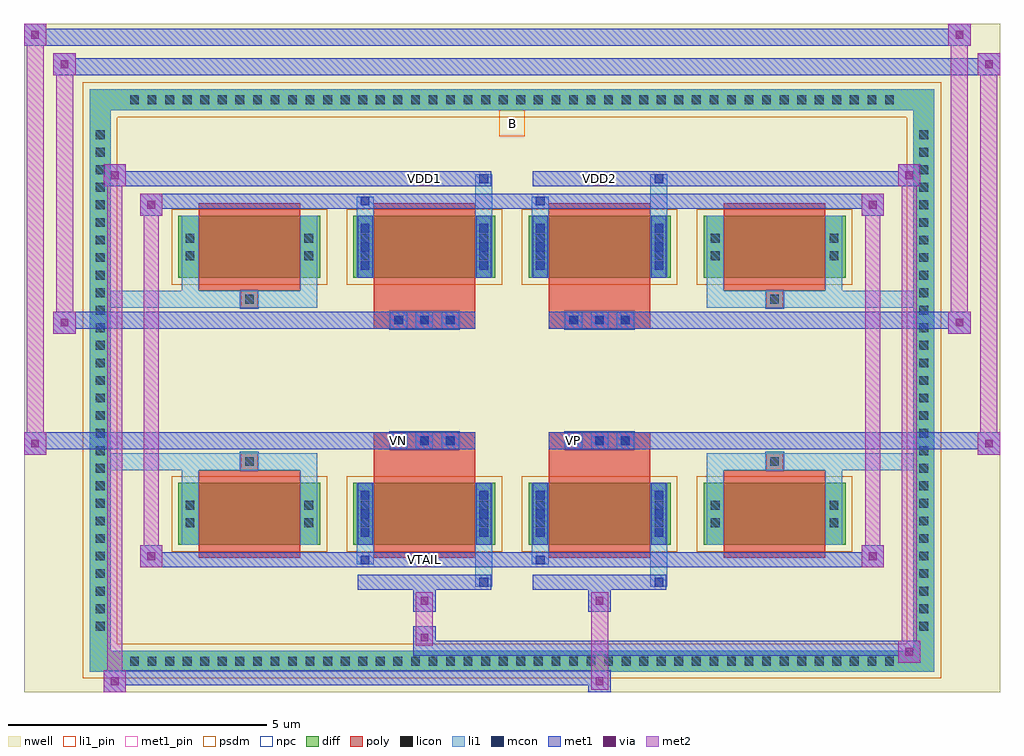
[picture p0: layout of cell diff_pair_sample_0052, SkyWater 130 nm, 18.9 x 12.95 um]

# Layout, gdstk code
import gdstk
lib = gdstk.Library(unit=1e-6, precision=5e-09)
def R(c, l, rs):  # rectangles x0, y0, x1, y1
    for r in rs: c.add(gdstk.rectangle(r[:2], r[2:], *l))
def A(c, l, x, y, w, h, nx, ny, dx, dy):  # array of equal rectangles
    R(c, l, [(x+i*dx, y+j*dy, x+i*dx+w, y+j*dy+h) for i in range(nx) for j in range(ny)])
def P(c, l, *ps):  # polygons
    for p in ps: c.add(gdstk.Polygon(p, *l))
nwell = (64, 20)
diff = (65, 20)
poly = (66, 20)
licon = (66, 44)
li1_pin = (67, 16)
li1 = (67, 20)
mcon = (67, 44)
met1_pin = (68, 16)
met1 = (68, 20)
via = (68, 44)
met2 = (69, 20)
psdm = (94, 20)
npc = (95, 20)

diff_pair_sample_0052 = lib.new_cell('diff_pair_sample_0052')
R(diff_pair_sample_0052, nwell, [(-9.45,-6.04,9.45,6.91), (-6.77,-4.23,-0.01,-0.805), (0.01,-4.23,6.77,-0.805), (-6.77,0.805,-0.01,4.23), (0.01,0.805,6.77,4.23)])
A(diff_pair_sample_0052, diff, -7.515, -5.64, 0.41, 0.41, 44, 2, 0.34, 10.87)
A(diff_pair_sample_0052, diff, -8.18, -4.965, 0.41, 0.41, 1, 29, 0, 0.34)
A(diff_pair_sample_0052, diff, 7.77, -4.965, 0.41, 0.41, 1, 29, 0, 0.34)
A(diff_pair_sample_0052, diff, -6.46, -3.185, 2.75, 1.2, 4, 2, 3.39, 5.17)
R(diff_pair_sample_0052, diff, [(-7.515,-5.64,7.515,-5.23), (-8.18,-4.965,-7.77,4.965), (7.77,-4.965,8.18,4.965), (-7.515,5.23,7.515,5.64)])
P(diff_pair_sample_0052, diff, [(8.18,5.64),(-8.18,5.64),(-8.18,-5.23),(-7.77,-5.23),(-7.77,5.23),(7.77,5.23),(7.77,-5.23),(-7.77,-5.23),(-8.18,-5.23),(-8.18,-5.64),(8.18,-5.64)])
A(diff_pair_sample_0052, poly, -6.07, -3.435, 1.97, 1.7, 4, 2, 3.39, 5.17)
A(diff_pair_sample_0052, poly, -2.36, -1.335, 0.33, 0.33, 3, 2, 0.5, 2.34)
A(diff_pair_sample_0052, poly, 1.03, -1.335, 0.33, 0.33, 3, 2, 0.5, 2.34)
R(diff_pair_sample_0052, poly, [(-5.25,-1.735,-4.92,-1.405), (-5.25,-1.735,-4.92,-1.405), (-2.68,-1.735,-0.71,-1.335), (0.71,-1.735,2.68,-1.335), (4.92,-1.735,5.25,-1.405), (4.92,-1.735,5.25,-1.405), (-2.68,-1.335,-0.71,-1.005), (0.71,-1.335,2.68,-1.005), (-2.68,1.005,-0.71,1.335), (0.71,1.005,2.68,1.335), (-2.68,1.335,-0.71,1.735), (0.71,1.335,2.68,1.735), (-5.25,1.405,-4.92,1.735), (-5.25,1.405,-4.92,1.735), (4.92,1.405,5.25,1.735), (4.92,1.405,5.25,1.735)])
A(diff_pair_sample_0052, licon, -7.395, -5.52, 0.17, 0.17, 44, 2, 0.34, 10.87)
A(diff_pair_sample_0052, licon, -8.06, -4.845, 0.17, 0.17, 1, 29, 0, 0.34)
A(diff_pair_sample_0052, licon, 7.89, -4.845, 0.17, 0.17, 1, 29, 0, 0.34)
A(diff_pair_sample_0052, licon, -2.28, -1.255, 0.17, 0.17, 3, 2, 0.5, 2.34)
A(diff_pair_sample_0052, licon, 1.11, -1.255, 0.17, 0.17, 3, 2, 0.5, 2.34)
R(diff_pair_sample_0052, licon, [(-6.32,-2.84,-6.15,-2.67), (-4.02,-2.84,-3.85,-2.67), (-2.93,-2.84,-2.76,-2.67), (-0.63,-2.84,-0.46,-2.67), (0.46,-2.84,0.63,-2.67), (2.76,-2.84,2.93,-2.67), (3.85,-2.84,4.02,-2.67), (6.15,-2.84,6.32,-2.67), (-6.32,-2.5,-6.15,-2.33), (-4.02,-2.5,-3.85,-2.33), (-2.93,-2.5,-2.76,-2.33), (-0.63,-2.5,-0.46,-2.33), (0.46,-2.5,0.63,-2.33), (2.76,-2.5,2.93,-2.33), (3.85,-2.5,4.02,-2.33), (6.15,-2.5,6.32,-2.33), (-5.17,-1.655,-5,-1.485), (5,-1.655,5.17,-1.485), (-5.17,1.485,-5,1.655), (5,1.485,5.17,1.655), (-6.32,2.33,-6.15,2.5), (-4.02,2.33,-3.85,2.5), (-2.93,2.33,-2.76,2.5), (-0.63,2.33,-0.46,2.5), (0.46,2.33,0.63,2.5), (2.76,2.33,2.93,2.5), (3.85,2.33,4.02,2.5), (6.15,2.33,6.32,2.5), (-6.32,2.67,-6.15,2.84), (-4.02,2.67,-3.85,2.84), (-2.93,2.67,-2.76,2.84), (-0.63,2.67,-0.46,2.84), (0.46,2.67,0.63,2.84), (2.76,2.67,2.93,2.84), (3.85,2.67,4.02,2.84), (6.15,2.67,6.32,2.84)])
R(diff_pair_sample_0052, li1_pin, [(-0.25,4.73,0.25,5.23)])
A(diff_pair_sample_0052, li1, -7.475, -5.6, 0.33, 0.33, 44, 2, 0.34, 10.87)
A(diff_pair_sample_0052, li1, -8.14, -4.925, 0.33, 0.33, 1, 29, 0, 0.34)
A(diff_pair_sample_0052, li1, 7.81, -4.925, 0.33, 0.33, 1, 29, 0, 0.34)
A(diff_pair_sample_0052, li1, -2.93, -3.03, 0.17, 0.17, 1, 3, 0, 0.36)
A(diff_pair_sample_0052, li1, -0.63, -3.03, 0.17, 0.17, 1, 3, 0, 0.36)
A(diff_pair_sample_0052, li1, 0.46, -3.03, 0.17, 0.17, 1, 3, 0, 0.36)
A(diff_pair_sample_0052, li1, 2.76, -3.03, 0.17, 0.17, 1, 3, 0, 0.36)
A(diff_pair_sample_0052, li1, -2.36, -1.335, 0.33, 0.33, 3, 2, 0.5, 2.34)
A(diff_pair_sample_0052, li1, 1.03, -1.335, 0.33, 0.33, 3, 2, 0.5, 2.34)
A(diff_pair_sample_0052, li1, -2.93, 2.14, 0.17, 0.17, 1, 3, 0, 0.36)
A(diff_pair_sample_0052, li1, -0.63, 2.14, 0.17, 0.17, 1, 3, 0, 0.36)
A(diff_pair_sample_0052, li1, 0.46, 2.14, 0.17, 0.17, 1, 3, 0, 0.36)
A(diff_pair_sample_0052, li1, 2.76, 2.14, 0.17, 0.17, 1, 3, 0, 0.36)
R(diff_pair_sample_0052, li1, [(-8.18,-5.64,-7.77,-5.23), (-8.18,-5.64,-7.77,-5.23), (-7.77,-5.64,7.77,-5.23), (7.77,-5.64,8.18,-5.23), (7.77,-5.64,8.18,-5.23), (-8.18,-5.23,-7.77,5.23), (7.77,-5.23,8.18,5.23), (-0.71,-3.99,-0.38,-3.185), (-0.63,-3.99,-0.46,-3.82), (2.68,-3.99,3.01,-3.185), (2.76,-3.99,2.93,-3.82), (-3.01,-3.56,-2.68,-3.185), (-2.93,-3.56,-2.76,-3.39), (0.38,-3.56,0.71,-3.185), (0.46,-3.56,0.63,-3.39), (-6.4,-3.185,-6.07,-1.985), (-4.1,-3.185,-3.77,-1.985), (-3.01,-3.185,-2.68,-1.985), (-0.71,-3.185,-0.38,-1.985), (0.38,-3.185,0.71,-1.985), (2.68,-3.185,3.01,-1.985), (3.77,-3.185,4.1,-1.985), (6.07,-3.185,6.4,-1.985), (-2.93,-3.03,-2.76,-2.14), (-0.63,-3.03,-0.46,-2.14), (0.46,-3.03,0.63,-2.14), (2.76,-3.03,2.93,-2.14), (-6.4,-2.92,-6.07,-2.59), (-4.1,-2.92,-3.77,-2.59), (-3.01,-2.92,-2.68,-2.59), (-0.71,-2.92,-0.38,-2.59), (0.38,-2.92,0.71,-2.59), (2.68,-2.92,3.01,-2.59), (3.77,-2.92,4.1,-2.59), (6.07,-2.92,6.4,-2.59), (-6.4,-2.58,-6.07,-2.25), (-4.1,-2.58,-3.77,-2.25), (-3.01,-2.58,-2.68,-2.25), (-0.71,-2.58,-0.38,-2.25), (0.38,-2.58,0.71,-2.25), (2.68,-2.58,3.01,-2.25), (3.77,-2.58,4.1,-2.25), (6.07,-2.58,6.4,-2.25), (-6.4,-1.985,-6.07,-1.405), (-4.1,-1.985,-3.77,-1.405), (3.77,-1.985,4.1,-1.405), (6.07,-1.985,6.4,-1.405), (-8.18,-1.735,-5.25,-1.405), (-6.4,-1.735,-5.25,-1.405), (-5.25,-1.735,-4.92,-1.405), (-4.92,-1.735,-3.77,-1.405), (3.77,-1.735,4.92,-1.405), (4.92,-1.735,5.25,-1.405), (4.92,-1.735,8.18,-1.405), (5.25,-1.735,6.4,-1.405), (-8.18,1.405,-5.25,1.735), (-6.4,1.405,-5.25,1.735), (-6.4,1.405,-6.07,1.985), (-5.25,1.405,-4.92,1.735), (-4.92,1.405,-3.77,1.735), (-4.1,1.405,-3.77,1.985), (3.77,1.405,4.92,1.735), (3.77,1.405,4.1,1.985), (4.92,1.405,5.25,1.735), (4.92,1.405,8.18,1.735), (5.25,1.405,6.4,1.735), (6.07,1.405,6.4,1.985), (-6.4,1.985,-6.07,3.185), (-4.1,1.985,-3.77,3.185), (-3.01,1.985,-2.68,3.185), (-0.71,1.985,-0.38,3.185), (0.38,1.985,0.71,3.185), (2.68,1.985,3.01,3.185), (3.77,1.985,4.1,3.185), (6.07,1.985,6.4,3.185), (-2.93,2.14,-2.76,3.03), (-0.63,2.14,-0.46,3.03), (0.46,2.14,0.63,3.03), (2.76,2.14,2.93,3.03), (-6.4,2.25,-6.07,2.58), (-4.1,2.25,-3.77,2.58), (-3.01,2.25,-2.68,2.58), (-0.71,2.25,-0.38,2.58), (0.38,2.25,0.71,2.58), (2.68,2.25,3.01,2.58), (3.77,2.25,4.1,2.58), (6.07,2.25,6.4,2.58), (-6.4,2.59,-6.07,2.92), (-4.1,2.59,-3.77,2.92), (-3.01,2.59,-2.68,2.92), (-0.71,2.59,-0.38,2.92), (0.38,2.59,0.71,2.92), (2.68,2.59,3.01,2.92), (3.77,2.59,4.1,2.92), (6.07,2.59,6.4,2.92), (-3.01,3.185,-2.68,3.56), (-0.71,3.185,-0.38,3.99), (0.38,3.185,0.71,3.56), (2.68,3.185,3.01,3.99), (-2.93,3.39,-2.76,3.56), (0.46,3.39,0.63,3.56), (-0.63,3.82,-0.46,3.99), (2.76,3.82,2.93,3.99), (-8.18,5.23,-7.77,5.64), (-8.18,5.23,-7.77,5.64), (-7.77,5.23,7.77,5.64), (7.77,5.23,8.18,5.64), (7.77,5.23,8.18,5.64)])
A(diff_pair_sample_0052, mcon, -2.93, -3.03, 0.17, 0.17, 1, 3, 0, 0.36)
A(diff_pair_sample_0052, mcon, -0.63, -3.03, 0.17, 0.17, 1, 3, 0, 0.36)
A(diff_pair_sample_0052, mcon, 0.46, -3.03, 0.17, 0.17, 1, 3, 0, 0.36)
A(diff_pair_sample_0052, mcon, 2.76, -3.03, 0.17, 0.17, 1, 3, 0, 0.36)
A(diff_pair_sample_0052, mcon, -2.28, -1.255, 0.17, 0.17, 3, 2, 0.5, 2.34)
A(diff_pair_sample_0052, mcon, 1.11, -1.255, 0.17, 0.17, 3, 2, 0.5, 2.34)
A(diff_pair_sample_0052, mcon, -2.93, 2.14, 0.17, 0.17, 1, 3, 0, 0.36)
A(diff_pair_sample_0052, mcon, -0.63, 2.14, 0.17, 0.17, 1, 3, 0, 0.36)
A(diff_pair_sample_0052, mcon, 0.46, 2.14, 0.17, 0.17, 1, 3, 0, 0.36)
A(diff_pair_sample_0052, mcon, 2.76, 2.14, 0.17, 0.17, 1, 3, 0, 0.36)
R(diff_pair_sample_0052, mcon, [(-0.63,-3.99,-0.46,-3.82), (2.76,-3.99,2.93,-3.82), (-2.93,-3.56,-2.76,-3.39), (0.46,-3.56,0.63,-3.39), (-2.93,3.39,-2.76,3.56), (0.46,3.39,0.63,3.56), (-0.63,3.82,-0.46,3.99), (2.76,3.82,2.93,3.99)])
R(diff_pair_sample_0052, met1_pin, [(-1.83,-3.6,-1.56,-3.33), (-2.33,-1.295,-2.06,-1.025), (1.06,-1.295,1.33,-1.025), (-1.83,3.78,-1.56,4.05), (1.56,3.78,1.83,4.05)])
A(diff_pair_sample_0052, met1, -2.99, -3.09, 0.29, 0.29, 1, 3, 0, 0.36)
A(diff_pair_sample_0052, met1, -0.69, -3.09, 0.29, 0.29, 1, 3, 0, 0.36)
A(diff_pair_sample_0052, met1, 0.4, -3.09, 0.29, 0.29, 1, 3, 0, 0.36)
A(diff_pair_sample_0052, met1, 2.7, -3.09, 0.29, 0.29, 1, 3, 0, 0.36)
A(diff_pair_sample_0052, met1, -2.34, -1.315, 0.29, 0.29, 3, 2, 0.5, 2.34)
A(diff_pair_sample_0052, met1, 1.05, -1.315, 0.29, 0.29, 3, 2, 0.5, 2.34)
A(diff_pair_sample_0052, met1, -2.99, 2.08, 0.29, 0.29, 1, 3, 0, 0.36)
A(diff_pair_sample_0052, met1, -0.69, 2.08, 0.29, 0.29, 1, 3, 0, 0.36)
A(diff_pair_sample_0052, met1, 0.4, 2.08, 0.29, 0.29, 1, 3, 0, 0.36)
A(diff_pair_sample_0052, met1, 2.7, 2.08, 0.29, 0.29, 1, 3, 0, 0.36)
R(diff_pair_sample_0052, met1, [(-7.91,-6.04,-7.48,-5.61), (1.48,-6.04,1.91,-5.61), (-7.91,-5.9,1.91,-5.61), (7.48,-5.47,7.91,-5.04), (-1.91,-5.33,7.91,-5.04), (-1.91,-5.19,-1.48,-4.76), (-1.91,-4.48,-1.48,-4.05), (1.48,-4.48,1.91,-4.05), (-2.99,-4.05,-0.4,-3.76), (-0.69,-4.05,-0.4,-3.76), (0.4,-4.05,2.99,-3.76), (2.7,-4.05,2.99,-3.76), (-7.2,-3.62,-6.77,-3.19), (-7.2,-3.62,-2.99,-3.33), (-2.99,-3.62,-2.7,-3.33), (-2.99,-3.62,-0.4,-3.33), (-0.4,-3.62,0.4,-3.33), (0.4,-3.62,0.69,-3.33), (0.4,-3.62,2.99,-3.33), (2.99,-3.62,7.2,-3.33), (6.77,-3.62,7.2,-3.19), (-2.99,-3.185,-2.7,-1.985), (-0.69,-3.185,-0.4,-1.985), (0.4,-3.185,0.69,-1.985), (2.7,-3.185,2.99,-1.985), (-9.45,-1.435,-9.02,-1.005), (9.02,-1.435,9.45,-1.005), (-9.45,-1.335,-0.71,-1.005), (-2.68,-1.335,-0.71,-1.005), (0.71,-1.335,2.68,-1.005), (0.71,-1.335,9.45,-1.005), (-8.88,0.905,-8.45,1.335), (8.45,0.905,8.88,1.335), (-8.88,1.005,-2.68,1.335), (-2.68,1.005,-0.71,1.335), (0.71,1.005,2.68,1.335), (2.68,1.005,8.88,1.335), (-2.99,1.985,-2.7,3.185), (-0.69,1.985,-0.4,3.185), (0.4,1.985,0.69,3.185), (2.7,1.985,2.99,3.185), (-7.2,3.19,-6.77,3.62), (6.77,3.19,7.2,3.62), (-7.2,3.33,-2.99,3.62), (-2.99,3.33,-2.7,3.62), (-2.99,3.33,-0.4,3.62), (-0.4,3.33,0.4,3.62), (0.4,3.33,0.69,3.62), (0.4,3.33,2.99,3.62), (2.99,3.33,7.2,3.62), (-7.91,3.76,-7.48,4.19), (-7.91,3.76,-2.99,4.05), (-2.99,3.76,-0.4,4.05), (-0.69,3.76,-0.4,4.05), (0.4,3.76,2.99,4.05), (2.7,3.76,2.99,4.05), (2.99,3.76,7.91,4.05), (7.48,3.76,7.91,4.19), (-8.88,5.91,-8.45,6.34), (-8.88,5.91,-6.77,6.24), (-6.77,5.91,6.77,6.24), (6.77,5.91,9.45,6.24), (9.02,5.91,9.45,6.34), (-9.45,6.48,-9.02,6.91), (-9.45,6.48,-6.77,6.81), (-6.77,6.48,6.77,6.81), (6.77,6.48,8.88,6.81), (8.45,6.48,8.88,6.91)])
R(diff_pair_sample_0052, via, [(-7.77,-5.9,-7.62,-5.75), (1.62,-5.9,1.77,-5.75), (7.62,-5.33,7.77,-5.18), (-1.77,-5.05,-1.62,-4.9), (-1.77,-4.34,-1.62,-4.19), (1.62,-4.34,1.77,-4.19), (-7.06,-3.48,-6.91,-3.33), (6.91,-3.48,7.06,-3.33), (-9.31,-1.295,-9.16,-1.145), (9.16,-1.295,9.31,-1.145), (-8.74,1.045,-8.59,1.195), (8.59,1.045,8.74,1.195), (-7.06,3.33,-6.91,3.48), (6.91,3.33,7.06,3.48), (-7.77,3.9,-7.62,4.05), (7.62,3.9,7.77,4.05), (-8.74,6.05,-8.59,6.2), (9.16,6.05,9.31,6.2), (-9.31,6.62,-9.16,6.77), (8.59,6.62,8.74,6.77)])
R(diff_pair_sample_0052, met2, [(-7.91,-6.04,-7.48,-5.61), (-7.84,-6.04,-7.55,4.19), (-7.55,-6.04,-7.48,-5.61), (-7.86,-5.99,-7.53,-5.66), (1.53,-5.99,1.86,-5.66), (1.53,-5.66,1.86,-4.43), (7.48,-5.47,7.91,-5.04), (7.55,-5.47,7.84,4.19), (7.84,-5.47,7.91,-5.04), (7.53,-5.42,7.86,-5.09), (-1.86,-5.14,-1.53,-4.81), (-1.86,-4.81,-1.53,-4.43), (-1.86,-4.43,-1.53,-4.1), (1.53,-4.43,1.86,-4.1), (-7.2,-3.62,-6.77,-3.19), (-7.13,-3.62,-6.84,3.62), (-6.84,-3.62,-6.77,-3.19), (6.77,-3.62,7.2,-3.19), (6.84,-3.62,7.13,3.62), (7.13,-3.62,7.2,-3.19), (-7.15,-3.57,-6.82,-3.24), (6.82,-3.57,7.15,-3.24), (-9.45,-1.435,-9.02,-1.005), (-9.4,-1.435,-9.07,6.91), (-9.07,-1.435,-9.02,-1.005), (9.02,-1.435,9.45,-1.005), (9.07,-1.435,9.4,6.34), (9.4,-1.435,9.45,-1.005), (-9.4,-1.385,-9.07,-1.055), (9.07,-1.385,9.4,-1.055), (-8.88,0.905,-8.45,1.335), (-8.83,0.905,-8.5,6.34), (-8.5,0.905,-8.45,1.335), (8.45,0.905,8.88,1.335), (8.5,0.905,8.83,6.91), (8.83,0.905,8.88,1.335), (-8.83,0.955,-8.5,1.285), (8.5,0.955,8.83,1.285), (-7.2,3.19,-6.77,3.62), (-6.84,3.19,-6.77,3.62), (6.77,3.19,7.2,3.62), (7.13,3.19,7.2,3.62), (-7.15,3.24,-6.82,3.57), (6.82,3.24,7.15,3.57), (-7.91,3.76,-7.48,4.19), (-7.55,3.76,-7.48,4.19), (7.48,3.76,7.91,4.19), (7.84,3.76,7.91,4.19), (-7.86,3.81,-7.53,4.14), (7.53,3.81,7.86,4.14), (-8.88,5.91,-8.45,6.34), (-8.5,5.91,-8.45,6.34), (9.02,5.91,9.45,6.34), (9.4,5.91,9.45,6.34), (-8.83,5.96,-8.5,6.29), (9.07,5.96,9.4,6.29), (-9.45,6.48,-9.02,6.91), (-9.07,6.48,-9.02,6.91), (8.45,6.48,8.88,6.91), (8.83,6.48,8.88,6.91), (-9.4,6.53,-9.07,6.86), (8.5,6.53,8.83,6.86)])
A(diff_pair_sample_0052, psdm, -6.59, -3.315, 3.01, 1.46, 4, 2, 3.39, 5.17)
P(diff_pair_sample_0052, psdm, [(8.31,5.77),(-8.31,5.77),(-8.31,-5.1),(-7.64,-5.1),(-7.64,5.1),(7.64,5.1),(7.64,-5.1),(-7.64,-5.1),(-8.31,-5.1),(-8.31,-5.77),(8.31,-5.77)])
A(diff_pair_sample_0052, npc, -2.38, -1.355, 0.37, 0.37, 3, 2, 0.5, 2.34)
A(diff_pair_sample_0052, npc, 1.01, -1.355, 0.37, 0.37, 3, 2, 0.5, 2.34)
R(diff_pair_sample_0052, npc, [(-5.27,-1.755,-4.9,-1.385), (4.9,-1.755,5.27,-1.385), (-2.38,-1.355,-1.51,-0.985), (-2.38,-1.355,-1.51,-0.985), (-1.88,-1.355,-1.01,-0.985), (-1.88,-1.355,-1.01,-0.985), (1.01,-1.355,1.88,-0.985), (1.01,-1.355,1.88,-0.985), (1.51,-1.355,2.38,-0.985), (1.51,-1.355,2.38,-0.985), (-2.38,0.985,-1.51,1.355), (-2.38,0.985,-1.51,1.355), (-1.88,0.985,-1.01,1.355), (-1.88,0.985,-1.01,1.355), (1.01,0.985,1.88,1.355), (1.01,0.985,1.88,1.355), (1.51,0.985,2.38,1.355), (1.51,0.985,2.38,1.355), (-5.27,1.385,-4.9,1.755), (4.9,1.385,5.27,1.755)])
diff_pair_sample_0052.add(gdstk.Label('VTAIL', (-1.695,-3.465), layer=68, texttype=5))
diff_pair_sample_0052.add(gdstk.Label('VN', (-2.195,-1.16), layer=68, texttype=5))
diff_pair_sample_0052.add(gdstk.Label('VP', (1.195,-1.16), layer=68, texttype=5))
diff_pair_sample_0052.add(gdstk.Label('B', (0,4.98), layer=67, texttype=5))
diff_pair_sample_0052.add(gdstk.Label('VDD2', (1.695,3.915), layer=68, texttype=5))
diff_pair_sample_0052.add(gdstk.Label('VDD1', (-1.695,3.915), layer=68, texttype=5))

lib.write_gds('diff_pair_sample_0052.gds')
